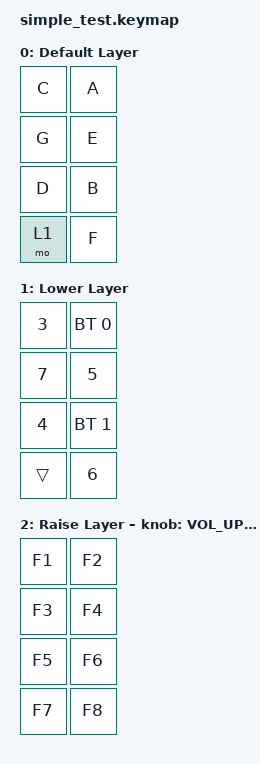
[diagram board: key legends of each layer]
/*
 * Copyright (c) 2020 The ZMK Contributors
 *
 * SPDX-License-Identifier: MIT
 */

#include <behaviors.dtsi>
#include <dt-bindings/zmk/bt.h>
#include <dt-bindings/zmk/keys.h>

/ {
    keymap {
        compatible = "zmk,keymap";

        default_layer {
            display-name = "Default Layer";

            // ------------------------------------------------------------------------------------------------------------
            // |  B  |  D  |
            // |  F  |  H  |
            // |  A  |  C  |
            // |  E  |  G  |

            bindings = <
&kp C  &kp A
&kp G  &kp E
&kp D  &kp B
&mo 1  &kp F
            >;
        };

        lower_layer {
            display-name = "Lower Layer";

            // ------------------------------------------------------------------------------------------------------------
            // |  1  |  2  |
            // |  3  |  4  |
            // |  5  |  6  |
            // |  7  |  8  |

            bindings = <
&kp NUMBER_3  &bt BT_SEL 0
&kp N7        &kp N5
&kp NUMBER_4  &bt BT_SEL 1
&trans        &kp NUMBER_6
            >;
        };

        raise_layer {
            display-name = "Raise Layer";

            // ------------------------------------------------------------------------------------------------------------
            // |  F1  |  F2  |
            // |  F3  |  F4  |
            // |  F5  |  F6  |
            // |  F7  |  F8  |

            bindings = <
&kp F1  &kp F2
&kp F3  &kp F4
&kp F5  &kp F6
&kp F7  &kp F8
            >;

            sensor-bindings = <&inc_dec_kp C_VOL_UP C_VOL_DN>;
        };
    };
};
